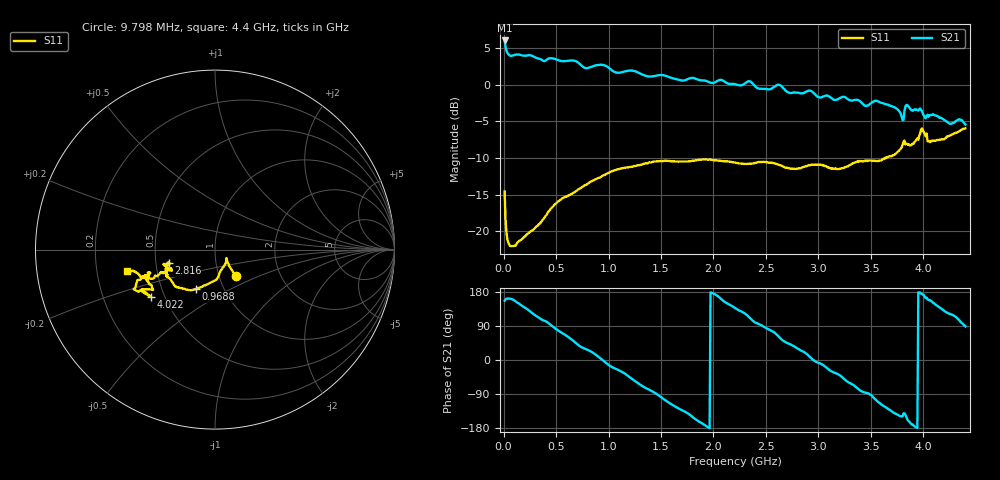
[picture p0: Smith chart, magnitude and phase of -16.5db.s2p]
# HZ S RI R 50
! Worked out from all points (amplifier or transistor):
!   500 points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, 9.798 MHz to 4.4 GHz, reference 50 ohm
!   highest |S21| = 6.0 dB at 9.798 MHz (marker M1)
!   |S21| within 3 dB of that: start of sweep to 708.1 MHz
!   S11 on the Smith chart (normalised r, x): 9.798 MHz: 1.20, -0.36; 968.8 MHz: 0.74, -0.34; 2.816 GHz: 0.58, -0.09; 4.022 GHz: 0.42, -0.28; 4.4 GHz: 0.33, -0.10
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9798000  0.1142 -0.1471  -1.838 0.7989  0 0  0 0
7.1384e7  0.0632 -0.0472  -1.488 0.5082  0 0  0 0
2.73738e8  0.0539 -0.0855  -0.8677 1.311  0 0  0 0
4.58496e8  0.0212 -0.143  -0.0103 1.515  0 0  0 0
6.34456e8  -0.0108 -0.1772  0.7947 1.227  0 0  0 0
7.4883e8  -0.0457 -0.1945  1.123 0.7246  0 0  0 0
9.6878e8  -0.1063 -0.2191  1.342 -0.1441  0 0  0 0
1.250316e9  -0.1717 -0.2189  0.7047 -1.017  0 0  0 0
1.479064e9  -0.2168 -0.2076  -0.072 -1.159  0 0  0 0
1.830984e9  -0.2626 -0.1542  -1.007 -0.4339  0 0  0 0
2.059732e9  -0.2728 -0.1302  -1.036 0.2953  0 0  0 0
2.209298e9  -0.2731 -0.1066  -0.7317 0.6902  0 0  0 0
2.358864e9  -0.2764 -0.0832  -0.3108 0.9937  0 0  0 0
2.587612e9  -0.2743 -0.0916  0.3211 0.9247  0 0  0 0
2.81636e9  -0.2585 -0.0736  0.7738 0.4105  0 0  0 0
2.939532e9  -0.2699 -0.0912  0.8963 0.0432  0 0  0 0
3.21227e9  -0.2453 -0.1069  0.6063 -0.5452  0 0  0 0
3.361836e9  -0.2712 -0.1211  0.2396 -0.7514  0 0  0 0
3.669766e9  -0.2969 -0.1274  -0.4645 -0.5526  0 0  0 0
3.863322e9  -0.3696 -0.126  -0.6709 -0.2154  0 0  0 0
4.021686e9  -0.3559 -0.264  -0.5681 0.1583  0 0  0 0
4.4e9  -0.4904 -0.1169  0.011 0.5342  0 0  0 0
